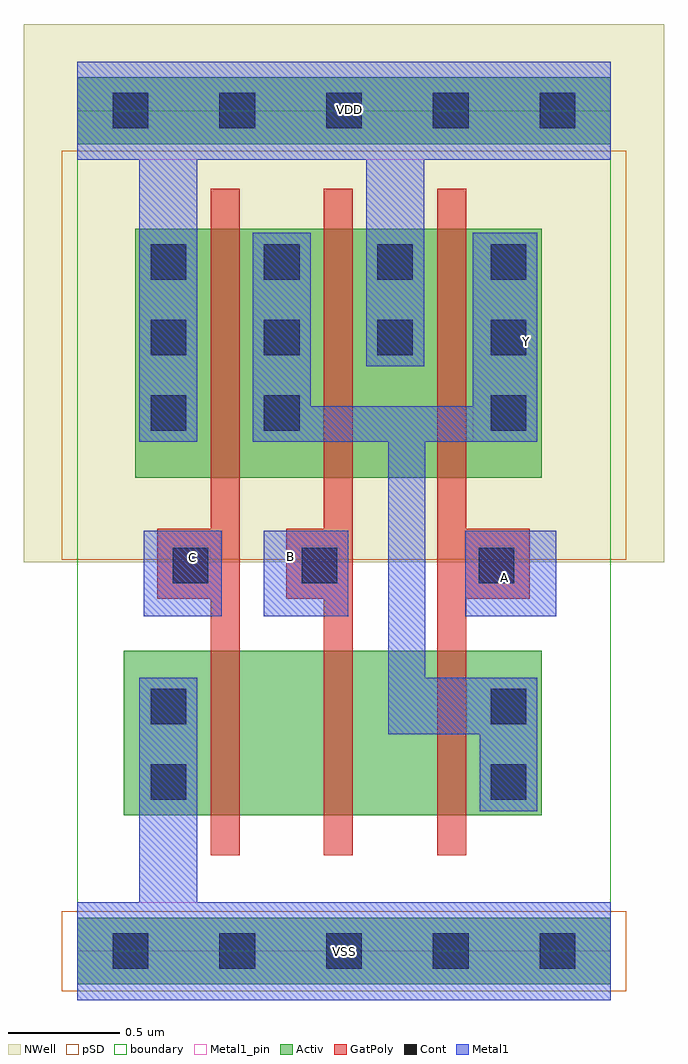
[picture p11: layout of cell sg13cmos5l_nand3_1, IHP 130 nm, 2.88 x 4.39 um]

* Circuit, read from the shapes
.subckt sg13cmos5l_nand3_1 A B C VDD VSS Y
XM1 n1 C VSS VSS sg13_lv_nmos w=0.74u l=0.13u
XM2 n2 B n1 VSS sg13_lv_nmos w=0.74u l=0.13u
XM3 Y A n2 VSS sg13_lv_nmos w=0.74u l=0.13u
XM4 Y C VDD VDD sg13_lv_pmos w=1.12u l=0.13u
XM5 VDD B Y VDD sg13_lv_pmos w=1.12u l=0.13u
XM6 Y A VDD VDD sg13_lv_pmos w=1.12u l=0.13u
.ends

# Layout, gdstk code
import gdstk
lib = gdstk.Library(unit=1e-6, precision=1e-09)
def R(c, l, rs):  # rectangles x0, y0, x1, y1
    for r in rs: c.add(gdstk.rectangle(r[:2], r[2:], *l))
def A(c, l, x, y, w, h, nx, ny, dx, dy):  # array of equal rectangles
    R(c, l, [(x+i*dx, y+j*dy, x+i*dx+w, y+j*dy+h) for i in range(nx) for j in range(ny)])
def P(c, l, *ps):  # polygons
    for p in ps: c.add(gdstk.Polygon(p, *l))
Activ = (1, 0)
GatPoly = (5, 0)
Cont = (6, 0)
Metal1 = (8, 0)
Metal1_pin = (8, 2)
pSD = (14, 0)
NWell = (31, 0)
boundary = (189, 4)

sg13cmos5l_nand3_1 = lib.new_cell('sg13cmos5l_nand3_1')
R(sg13cmos5l_nand3_1, Activ, [(0,-0.15,2.4,0.15), (0.21,0.61,2.09,1.35), (0.26,2.13,2.09,3.25), (0,3.63,2.4,3.93)])
P(sg13cmos5l_nand3_1, GatPoly, [(1.62,0.43),(1.62,3.43),(1.75,3.43),(1.75,1.9),(2.035,1.9),(2.035,1.585),(1.75,1.585),(1.75,0.43)],
  [(1.11,0.43),(1.11,1.585),(0.94,1.585),(0.94,1.9),(1.11,1.9),(1.11,3.43),(1.24,3.43),(1.24,0.43)],
  [(0.6,0.43),(0.6,1.585),(0.36,1.585),(0.36,1.9),(0.6,1.9),(0.6,3.43),(0.73,3.43),(0.73,0.43)])
A(sg13cmos5l_nand3_1, Cont, 0.33, 2.68, 0.16, 0.16, 4, 2, 0.51, 0.34)
R(sg13cmos5l_nand3_1, Cont, [(0.16,-0.08,0.32,0.08), (0.16,-0.08,0.32,0.08), (0.64,-0.08,0.8,0.08), (0.64,-0.08,0.8,0.08), (1.12,-0.08,1.28,0.08), (1.12,-0.08,1.28,0.08), (1.6,-0.08,1.76,0.08), (1.6,-0.08,1.76,0.08), (2.08,-0.08,2.24,0.08), (2.08,-0.08,2.24,0.08), (0.33,0.68,0.49,0.84), (1.86,0.68,2.02,0.84), (0.33,1.02,0.49,1.18), (1.86,1.02,2.02,1.18), (0.43,1.655,0.59,1.815), (1.01,1.655,1.17,1.815), (1.805,1.655,1.965,1.815), (0.33,2.34,0.49,2.5), (0.84,2.34,1,2.5), (1.86,2.34,2.02,2.5), (0.16,3.7,0.32,3.86), (0.16,3.7,0.32,3.86), (0.64,3.7,0.8,3.86), (0.64,3.7,0.8,3.86), (1.12,3.7,1.28,3.86), (1.12,3.7,1.28,3.86), (1.6,3.7,1.76,3.86), (1.6,3.7,1.76,3.86), (2.08,3.7,2.24,3.86), (2.08,3.7,2.24,3.86)])
R(sg13cmos5l_nand3_1, Metal1, [(0.3,1.505,0.65,1.89), (0.84,1.505,1.22,1.89), (1.745,1.505,2.155,1.89)])
P(sg13cmos5l_nand3_1, Metal1, [(1.81,0.63),(1.81,0.975),(1.4,0.975),(1.4,2.29),(0.79,2.29),(0.79,3.23),(1.05,3.23),(1.05,2.45),(1.78,2.45),(1.78,3.23),(2.07,3.23),(2.07,2.29),(1.565,2.29),(1.565,1.23),(2.07,1.23),(2.07,0.63)],
  [(0,-0.22),(0,0.22),(0.28,0.22),(0.28,1.23),(0.54,1.23),(0.54,0.22),(2.4,0.22),(2.4,-0.22)],
  [(0.28,2.29),(0.28,3.56),(0,3.56),(0,4),(2.4,4),(2.4,3.56),(1.56,3.56),(1.56,2.63),(1.3,2.63),(1.3,3.56),(0.54,3.56),(0.54,2.29)])
R(sg13cmos5l_nand3_1, Metal1_pin, [(0,-0.22,2.4,0.22), (0.3,1.505,0.65,1.89), (0.84,1.505,1.22,1.89), (1.745,1.505,2.155,1.89), (1.78,2.29,2.07,3.23), (0,3.56,2.4,4)])
R(sg13cmos5l_nand3_1, pSD, [(-0.07,-0.18,2.47,0.18), (-0.07,1.76,2.47,3.6)])
R(sg13cmos5l_nand3_1, NWell, [(-0.24,1.75,2.64,4.17)])
R(sg13cmos5l_nand3_1, boundary, [(0,0,2.4,3.78)])
sg13cmos5l_nand3_1.add(gdstk.Label('VDD', (1.225,3.785), layer=8, texttype=25))
sg13cmos5l_nand3_1.add(gdstk.Label('Y', (2.02,2.74), layer=8, texttype=25))
sg13cmos5l_nand3_1.add(gdstk.Label('B', (0.96,1.775), layer=8, texttype=25))
sg13cmos5l_nand3_1.add(gdstk.Label('C', (0.52,1.77), layer=8, texttype=25))
sg13cmos5l_nand3_1.add(gdstk.Label('A', (1.92,1.68), layer=8, texttype=25))
sg13cmos5l_nand3_1.add(gdstk.Label('VSS', (1.2,0), layer=8, texttype=25))

lib.write_gds('sg13cmos5l_nand3_1.gds')
